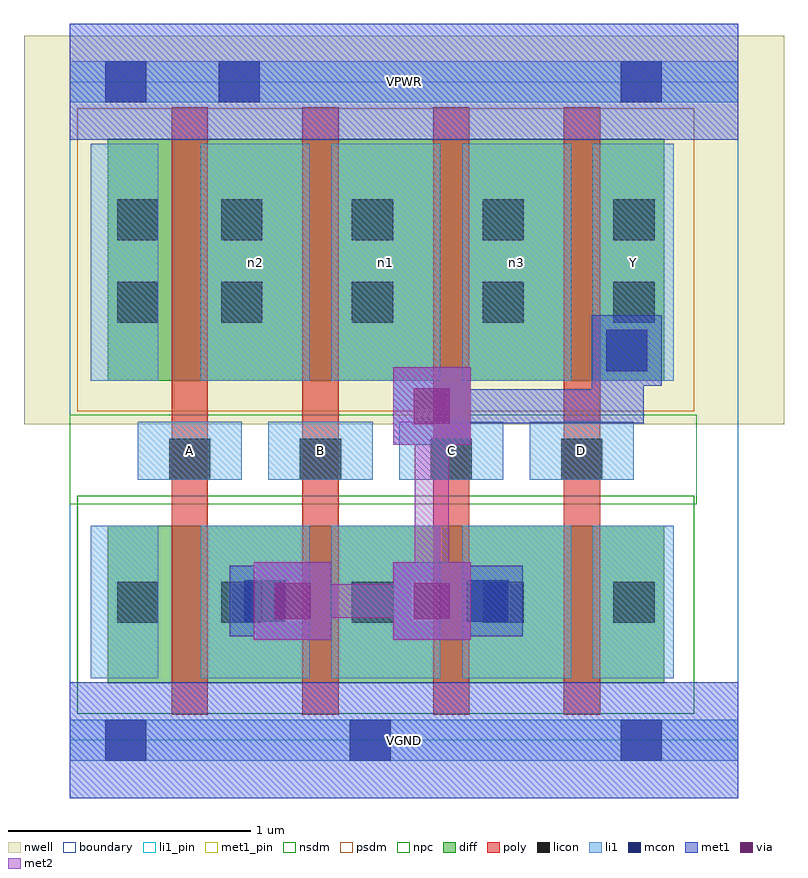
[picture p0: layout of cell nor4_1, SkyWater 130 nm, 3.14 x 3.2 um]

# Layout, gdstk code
import gdstk
lib = gdstk.Library(unit=1e-6, precision=1e-09)
def R(c, l, rs):  # rectangles x0, y0, x1, y1
    for r in rs: c.add(gdstk.rectangle(r[:2], r[2:], *l))
def A(c, l, x, y, w, h, nx, ny, dx, dy):  # array of equal rectangles
    R(c, l, [(x+i*dx, y+j*dy, x+i*dx+w, y+j*dy+h) for i in range(nx) for j in range(ny)])
nwell = (64, 20)
diff = (65, 20)
poly = (66, 20)
licon = (66, 44)
li1_pin = (67, 16)
li1 = (67, 20)
mcon = (67, 44)
met1_pin = (68, 16)
met1 = (68, 20)
via = (68, 44)
met2 = (69, 20)
nsdm = (93, 44)
psdm = (94, 20)
npc = (95, 20)
boundary = (235, 4)

nor4_1 = lib.new_cell('nor4_1')
R(nor4_1, nwell, [(-0.19,1.305,2.95,2.91), (0,1.305,2.76,2.91)])
R(nor4_1, diff, [(0.155,0.235,2.455,0.885), (0.155,1.485,2.455,2.485)])
A(nor4_1, poly, 0.42, 0.105, 0.15, 2.51, 4, 1, 0.54, 0)
A(nor4_1, licon, 0.625, 0.485, 0.17, 0.17, 4, 2, 0.54, 1.24)
A(nor4_1, licon, 0.41, 1.075, 0.17, 0.17, 4, 1, 0.54, 0)
A(nor4_1, licon, 0.625, 2.065, 0.17, 0.17, 4, 1, 0.54, 0)
R(nor4_1, licon, [(0.195,0.485,0.365,0.655), (0.195,1.725,0.365,1.895), (0.195,2.065,0.365,2.235)])
A(nor4_1, li1_pin, 0.28, 1.075, 0.43, 0.24, 4, 1, 0.54, 0)
R(nor4_1, li1_pin, [(2.16,1.485,2.495,2.465)])
A(nor4_1, li1, 0.54, 0.255, 0.45, 0.63, 3, 1, 0.54, 0)
A(nor4_1, li1, 0.28, 1.075, 0.43, 0.24, 4, 1, 0.54, 0)
A(nor4_1, li1, 0.54, 1.485, 0.45, 0.98, 3, 1, 0.54, 0)
R(nor4_1, li1, [(0,-0.085,2.76,0.085), (0.085,0.255,0.365,0.885), (2.16,0.255,2.495,0.885), (0.085,1.485,0.365,2.465), (2.16,1.485,2.495,2.465), (0,2.635,2.76,2.805)])
R(nor4_1, mcon, [(0.145,-0.085,0.315,0.085), (1.155,-0.085,1.325,0.085), (2.275,-0.085,2.445,0.085), (0.72,0.49,0.89,0.66), (1.64,0.49,1.81,0.66), (2.215,1.525,2.385,1.695), (0.145,2.635,0.315,2.805), (0.615,2.635,0.785,2.805), (2.275,2.635,2.445,2.805)])
R(nor4_1, met1_pin, [(0,-0.24,2.76,0.24), (0,2.48,2.76,2.96)])
R(nor4_1, met1, [(0,-0.24,2.76,0.24), (0.76,0.415,1.08,0.735), (1.335,0.415,1.655,0.735), (0.66,0.43,0.95,0.72), (1.58,0.43,1.87,0.72), (0.735,0.505,0.99,0.645), (1.425,0.505,1.795,0.645), (1.335,1.22,1.655,1.54), (1.425,1.31,2.37,1.45), (2.23,1.31,2.37,1.68), (2.155,1.45,2.37,1.465), (2.155,1.465,2.445,1.755), (0,2.48,2.76,2.96)])
R(nor4_1, via, [(0.845,0.5,0.995,0.65), (1.42,0.5,1.57,0.65), (1.42,1.305,1.57,1.455)])
R(nor4_1, met2, [(0.76,0.415,1.08,0.735), (1.335,0.415,1.655,0.735), (0.85,0.505,1.565,0.645), (1.425,0.505,1.565,1.45), (1.335,1.22,1.655,1.54)])
R(nor4_1, nsdm, [(0.03,0.11,2.58,1.01)])
R(nor4_1, psdm, [(0.03,1.36,2.58,2.61)])
R(nor4_1, npc, [(0,0.975,2.59,1.345)])
R(nor4_1, boundary, [(0,0,2.76,2.72)])
nor4_1.add(gdstk.Label('A', (0.495,1.195), layer=67, texttype=5))
nor4_1.add(gdstk.Label('B', (1.035,1.195), layer=67, texttype=5))
nor4_1.add(gdstk.Label('C', (1.575,1.195), layer=67, texttype=5))
nor4_1.add(gdstk.Label('D', (2.115,1.195), layer=67, texttype=5))
nor4_1.add(gdstk.Label('Y', (2.327,1.975), layer=67, texttype=5))
nor4_1.add(gdstk.Label('n2', (0.765,1.975), layer=67, texttype=5))
nor4_1.add(gdstk.Label('n1', (1.305,1.975), layer=67, texttype=5))
nor4_1.add(gdstk.Label('n3', (1.845,1.975), layer=67, texttype=5))
nor4_1.add(gdstk.Label('VPWR', (1.38,2.72), layer=68, texttype=5))
nor4_1.add(gdstk.Label('VGND', (1.38,0), layer=68, texttype=5))
nor4_1.add(gdstk.Label('A', (0.495,1.195), layer=67, texttype=16))
nor4_1.add(gdstk.Label('B', (1.035,1.195), layer=67, texttype=16))
nor4_1.add(gdstk.Label('C', (1.575,1.195), layer=67, texttype=16))
nor4_1.add(gdstk.Label('D', (2.115,1.195), layer=67, texttype=16))
nor4_1.add(gdstk.Label('Y', (2.327,1.975), layer=67, texttype=16))
nor4_1.add(gdstk.Label('VPWR', (1.38,2.72), layer=68, texttype=16))
nor4_1.add(gdstk.Label('VGND', (1.38,0), layer=68, texttype=16))

lib.write_gds('nor4_1.gds')
